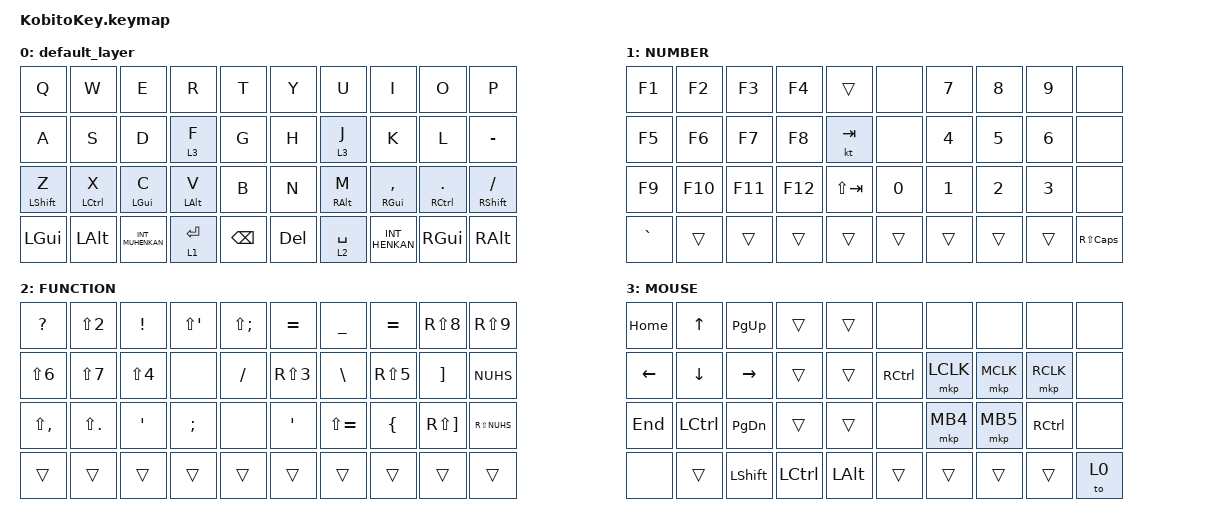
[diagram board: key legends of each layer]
#include <input/processors.dtsi>
#include <behaviors.dtsi>
#include <dt-bindings/zmk/keys.h>
#include <dt-bindings/zmk/pointing.h>

/ {
    combos {
        compatible = "zmk,combos";

        combo_eisu {
            timeout-ms = <50>;
            key-positions = <12 13>;
            bindings = <&kp LANG2>;
        };

        combo_kana {
            timeout-ms = <50>;
            key-positions = <16 17>;
            bindings = <&kp LANG1>;
        };

        combo_esc {
            timeout-ms = <50>;
            key-positions = <0 1>;
            bindings = <&kp ESC>;
        };

        combo_tab {
            timeout-ms = <50>;
            key-positions = <10 11>;
            bindings = <&kp TAB>;
        };
    };

    keymap {
        compatible = "zmk,keymap";

        default_layer {
            bindings = <
&kp Q         &kp W        &kp E             &kp R           &kp T     &kp Y       &kp U            &kp I                &kp O             &kp P
&kp A         &kp S        &kp D             &lt 3 F         &kp G     &kp H       &lt 3 J          &kp K                &kp L             &kp MINUS
&mt LSHIFT Z  &mt LCTRL X  &mt LEFT_GUI C    &mt LEFT_ALT V  &kp B     &kp N       &mt RIGHT_ALT M  &mt RIGHT_GUI COMMA  &mt RCTRL PERIOD  &mt RSHFT SLASH
&kp LGUI      &kp LALT     &kp INT_MUHENKAN  &lt 1 ENTER     &kp BSPC  &kp DELETE  &lt 2 SPACE      &kp INT_HENKAN       &kp RIGHT_GUI     &kp RIGHT_ALT
            >;
        };

        layer1 {
            label = "NUMBER";
            bindings = <
&kp F1     &kp F2   &kp F3   &kp F4   &trans       &none   &kp N7  &kp N8  &kp N9        &none
&kp F5     &kp F6   &kp F7   &kp F8   &kt TAB      &none   &kp N4  &kp N5  &kp NUMBER_6  &none
&kp F9     &kp F10  &kp F11  &kp F12  &kp LS(TAB)  &kp N0  &kp N1  &kp N2  &kp N3        &none
&kp GRAVE  &trans   &trans   &trans   &trans       &trans  &trans  &trans  &trans        &kp RS(CAPSLOCK)
            >;
        };

        layer2 {
            label = "FUNCTION";
            bindings = <
&kp QMARK      &kp LS(N2)      &kp EXCL          &kp LS(SQT)  &kp LS(SEMI)  &kp EQUAL         &kp UNDERSCORE  &kp EQUAL       &kp RS(N8)    &kp RS(N9)
&kp LS(N6)     &kp LS(N7)      &kp LS(N4)        &none        &kp SLASH     &kp RS(N3)        &kp BACKSLASH   &kp RS(N5)      &kp RBKT      &kp NUHS
&kp LS(COMMA)  &kp LS(PERIOD)  &kp SINGLE_QUOTE  &kp SEMI     &none         &kp SINGLE_QUOTE  &kp LS(EQUAL)   &kp LEFT_BRACE  &kp RS(RBKT)  &kp RS(NUHS)
&trans         &trans          &trans            &trans       &trans        &trans            &trans          &trans          &trans        &trans
            >;
        };

        layer3 {
            label = "MOUSE";
            bindings = <
&kp HOME  &kp UP            &kp PG_UP       &trans     &trans        &none      &none      &none      &none      &none
&kp LEFT  &kp DOWN          &kp RIGHT       &trans     &trans        &kp RCTRL  &mkp LCLK  &mkp MCLK  &mkp RCLK  &none
&kp END   &kp LEFT_CONTROL  &kp PAGE_DOWN   &trans     &trans        &none      &mkp MB4   &mkp MB5   &kp RCTRL  &none
&none     &trans            &kp LEFT_SHIFT  &kp LCTRL  &kp LEFT_ALT  &trans     &trans     &trans     &trans     &to 0
            >;
        };
    };
};
